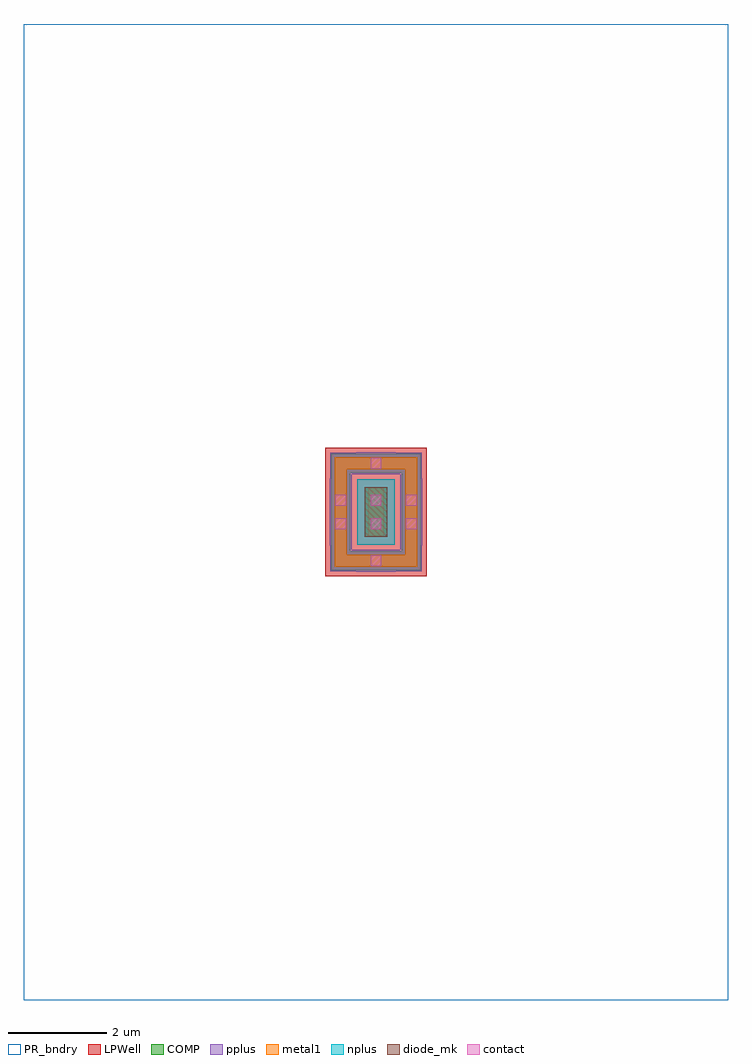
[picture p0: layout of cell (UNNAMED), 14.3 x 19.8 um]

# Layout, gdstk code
import gdstk
lib = gdstk.Library(unit=1e-6, precision=1e-09)
def R(c, l, rs):  # rectangles x0, y0, x1, y1
    for r in rs: c.add(gdstk.rectangle(r[:2], r[2:], *l))
def A(c, l, x, y, w, h, nx, ny, dx, dy):  # array of equal rectangles
    R(c, l, [(x+i*dx, y+j*dy, x+i*dx+w, y+j*dy+h) for i in range(nx) for j in range(ny)])
PR_bndry = (0, 0)
COMP = (22, 0)
pplus = (31, 0)
nplus = (32, 0)
contact = (33, 0)
metal1 = (34, 0)
diode_mk = (115, 5)
LPWell = (204, 0)

c__unnamed_ = lib.new_cell('(UNNAMED)')
R(c__unnamed_, PR_bndry, [(-7.15,-9.9,7.15,9.9)])
R(c__unnamed_, COMP, [(-0.905,-1.18,0.905,-0.8), (-0.905,-0.8,-0.525,0.8), (0.525,-0.8,0.905,0.8), (-0.225,-0.5,0.225,0.5), (-0.905,0.8,0.905,1.18)])
R(c__unnamed_, pplus, [(-0.4,-1.21,0.4,-1.2), (-0.925,-1.2,0.925,-0.77), (-0.925,-0.77,-0.495,-0.675), (0.495,-0.77,0.925,-0.675), (-0.935,-0.675,-0.495,0.675), (0.495,-0.675,0.935,0.675), (-0.925,0.675,-0.495,0.77), (0.495,0.675,0.925,0.77), (-0.925,0.77,0.925,1.2), (-0.4,1.2,0.4,1.21)])
R(c__unnamed_, nplus, [(-0.385,-0.66,0.385,0.66)])
A(c__unnamed_, contact, -0.825, -0.345, 0.22, 0.22, 3, 2, 0.715, 0.47)
R(c__unnamed_, contact, [(-0.11,-1.1,0.11,-0.88), (-0.11,0.88,0.11,1.1)])
R(c__unnamed_, metal1, [(-0.84,-1.115,0.84,-0.865), (-0.84,-0.865,-0.59,0.865), (0.59,-0.865,0.84,0.865), (-0.16,-0.49,0.16,0.49), (-0.84,0.865,0.84,1.115)])
R(c__unnamed_, diode_mk, [(-0.225,-0.5,0.225,0.5)])
R(c__unnamed_, LPWell, [(-1.025,-1.3,1.025,1.3)])

lib.write_gds('_UNNAMED_.gds')
